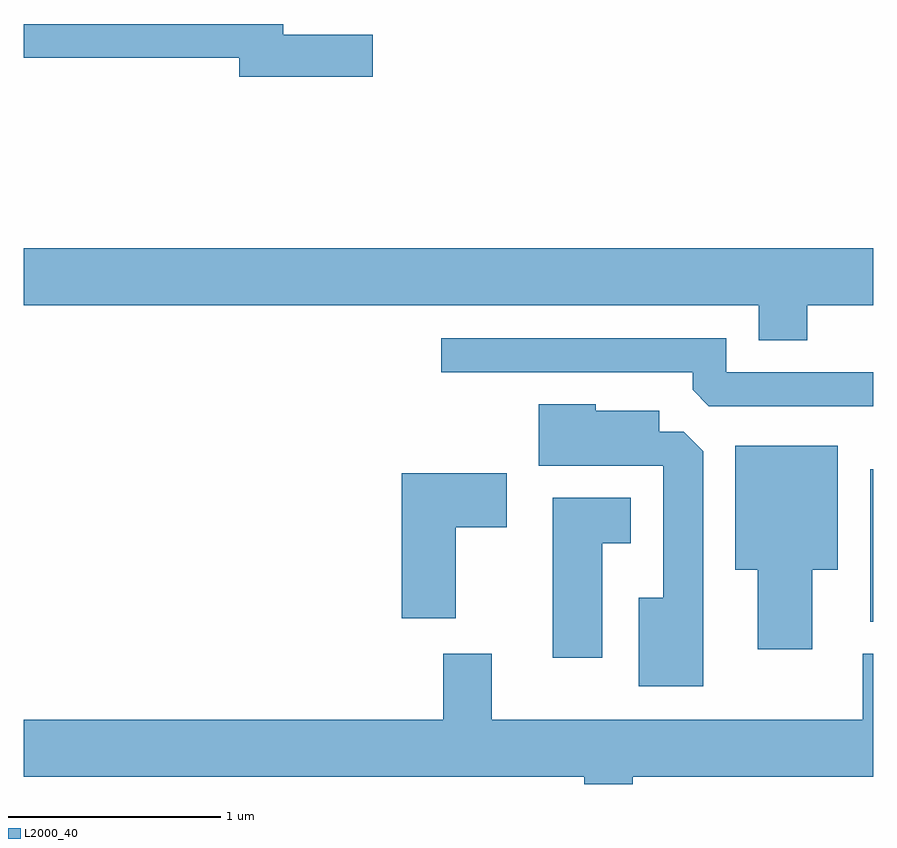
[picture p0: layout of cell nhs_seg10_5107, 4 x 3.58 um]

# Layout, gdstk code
import gdstk
lib = gdstk.Library(unit=1e-6, precision=1e-09)
def R(c, l, rs):  # rectangles x0, y0, x1, y1
    for r in rs: c.add(gdstk.rectangle(r[:2], r[2:], *l))
def P(c, l, *ps):  # polygons
    for p in ps: c.add(gdstk.Polygon(p, *l))
L2000_40 = (2000, 40)

nhs_seg10_5107 = lib.new_cell('nhs_seg10_5107')
R(nhs_seg10_5107, L2000_40, [(339.596,2141.286,339.611,2142.004)])
P(nhs_seg10_5107, L2000_40, [(337.254,2144.049),(336.834,2144.049),(336.834,2144.099),(335.611,2144.099),(335.611,2143.941),(336.626,2143.941),(336.626,2143.851),(337.254,2143.851)],
  [(339.299,2142.776),(339.611,2142.776),(339.611,2143.044),(335.611,2143.044),(335.611,2142.776),(339.071,2142.776),(339.071,2142.611),(339.299,2142.611)],
  [(339.611,2142.459),(338.919,2142.459),(338.919,2142.619),(337.578,2142.619),(337.578,2142.461),(338.761,2142.461),(338.761,2142.377),(338.837,2142.301),(339.611,2142.301)],
  [(338.809,2142.089),(338.719,2142.179),(338.604,2142.179),(338.604,2142.279),(338.304,2142.279),(338.304,2142.309),(338.036,2142.309),(338.036,2142.021),(338.621,2142.021),(338.621,2141.399),(338.506,2141.399),(338.506,2140.981),(338.809,2140.981)],
  [(339.324,2141.531),(339.444,2141.531),(339.444,2142.114),(338.961,2142.114),(338.961,2141.531),(339.066,2141.531),(339.066,2141.156),(339.324,2141.156)],
  [(337.644,2141.731),(337.884,2141.731),(337.884,2141.984),(337.391,2141.984),(337.391,2141.301),(337.644,2141.301)],
  [(338.334,2141.656),(338.469,2141.656),(338.469,2141.869),(338.101,2141.869),(338.101,2141.116),(338.334,2141.116)],
  [(338.479,2140.556),(339.611,2140.556),(339.611,2141.134),(339.561,2141.134),(339.561,2140.824),(337.814,2140.824),(337.814,2141.134),(337.586,2141.134),(337.586,2140.824),(335.611,2140.824),(335.611,2140.556),(338.251,2140.556),(338.251,2140.522),(338.479,2140.522)])

lib.write_gds('nhs_seg10_5107.gds')
